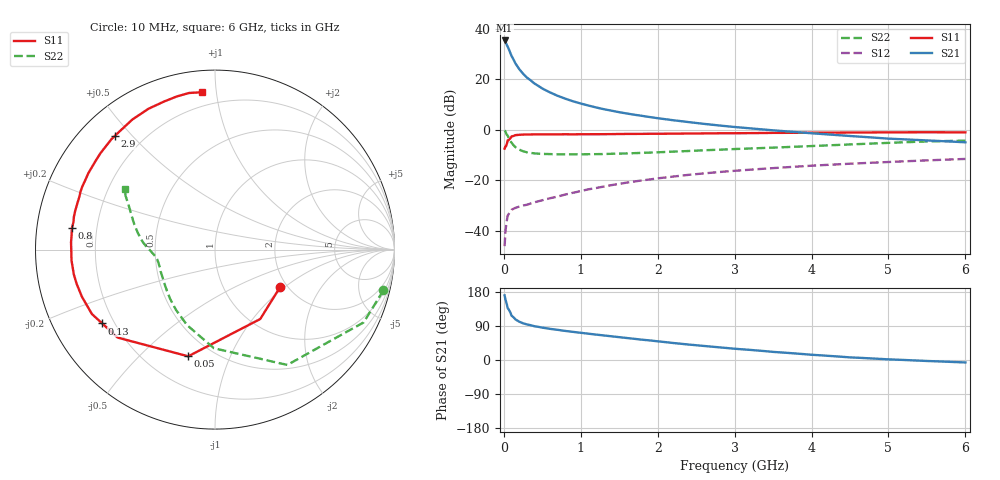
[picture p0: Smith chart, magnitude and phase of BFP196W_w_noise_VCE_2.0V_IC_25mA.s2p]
! Infineon Technologies  Discrete & RF Semiconductors
! BFP196W
! VCE =  2.0 V,  IC =  25 mA
! Common Emitter S-Parameters:  Jan 2017
# GHz  S  MA  R  50
!  f  S11  S21  S12  S22
! GHz  MAG  ANG  MAG  ANG  MAG  ANG  MAG  ANG
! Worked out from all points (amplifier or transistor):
!   77 points, 10 MHz to 6 GHz, reference 50 ohm
!   highest |S21| = 35.3 dB at 10 MHz (marker M1)
!   |S21| within 3 dB of that: start of sweep to 58.07 MHz
!   unconditionally stable (mu >= 1): 852.4 MHz to 3.391 GHz
!   at 130 MHz: K = 0.29, MSG = 29.4 dB, |S12| = -31.3 dB
!   at 2.2 GHz: K = 1.06, MAG = 9.7 dB, |S12| = -18.6 dB
!   at 6 GHz: K = 0.95, MSG = 3.3 dB, |S12| = -11.6 dB
!   lowest NFmin = 1.07 dB at 450 MHz
!   S11 on the Smith chart (normalised r, x): 10 MHz: 1.83, -0.93; 50 MHz: 0.37, -0.71; 130 MHz: 0.15, -0.29; 800 MHz: 0.11, +0.07; 2.9 GHz: 0.10, +0.45; 6 GHz: 0.12, +0.92
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0.01  0.4185 -30.0  58.1 170.5  0.0049 79.1  0.9655 -13.6
0.02  0.4617 -56.9  55.37 160.1  0.0093 72.7  0.9221 -26.1
0.05  0.613 -104.1  43.86 137.1  0.0198 52.3  0.7584 -57.9
0.1  0.731 -137.9  28.62 117.0  0.0258 38.2  0.5497 -90.6
0.13  0.7511 -146.8  23.66 111.9  0.0272 35.8  0.4819 -101.5
0.15  0.7741 -152.4  20.5 107.2  0.0281 34.3  0.4486 -110.3
0.2  0.7868 -160.6  15.74 101.1  0.0298 34.0  0.4001 -122.9
0.25  0.7942 -166.2  12.76 96.8  0.0313 34.9  0.3719 -132.1
0.3  0.7986 -170.1  10.69 93.9  0.0324 35.2  0.3545 -138.7
0.4  0.8017 -175.7  8.103 89.0  0.0363 39.7  0.3368 -147.8
0.5  0.8009 -179.8  6.494 85.4  0.0398 43.2  0.3291 -153.7
0.6  0.8031 177.1  5.433 82.2  0.0436 45.9  0.3265 -157.9
0.7  0.8029 174.3  4.653 79.6  0.0471 48.5  0.3226 -161.0
0.8  0.8063 171.5  4.081 76.7  0.0517 50.6  0.323 -163.2
1.1  0.808 164.6  2.985 69.4  0.0655 54.0  0.3249 -168.2
1.5  0.8161 156.6  2.206 60.3  0.084 55.1  0.3337 -173.0
2.1  0.8266 145.0  1.602 47.2  0.1124 53.1  0.3596 -178.9
2.9  0.8441 131.5  1.162 31.6  0.1482 48.0  0.4048 173.9
3.1  0.8469 128.4  1.09 28.2  0.1562 46.5  0.4161 171.9
4.1  0.8679 114.0  0.823 12.6  0.1958 38.8  0.4777 161.5
5.1  0.88 103.1  0.65 0.9  0.231 31.2  0.5518 151.7
6  0.8795 94.6  0.559 -6.5  0.2618 24.4  0.6025 146.2
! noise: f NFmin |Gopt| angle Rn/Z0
0.45  1.07  0.43  175  0.05
0.9  1.24  0.51  -179  0.06
1.9  2.11  0.68  -152  0.12
2.4  2.53  0.74  -146  0.21
